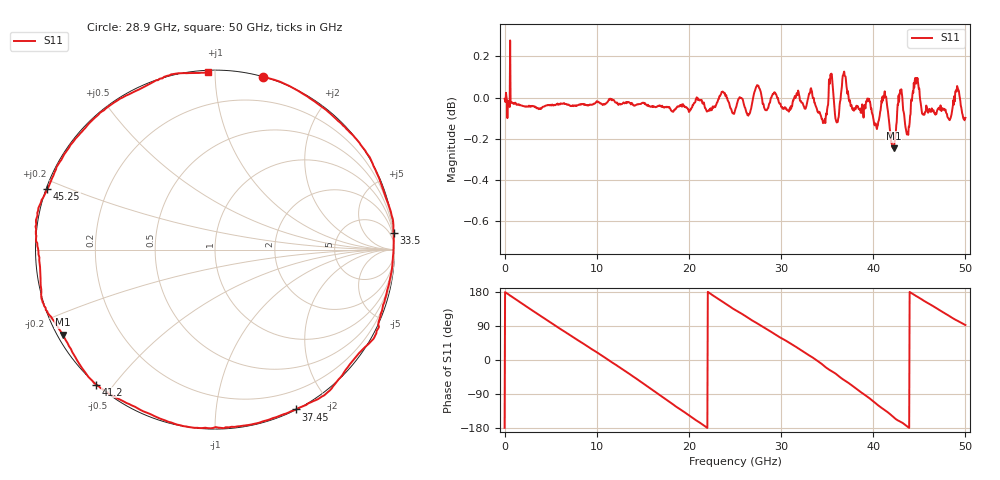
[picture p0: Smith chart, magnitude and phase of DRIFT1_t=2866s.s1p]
!Created with skrf (http://scikit-rf.org).
# Hz S RI R 50.0
!freq ReS11 ImS11
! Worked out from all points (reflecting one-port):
!   1001 points, 300 kHz to 50 GHz, reference 50 ohm
!   lowest |S11| = -0.2 dB at 42.2 GHz (marker M1), VSWR 70.14, Z = 0.761 - j13 ohm
!   phase of S11 starts at -179 deg and turns -809 deg over the sweep
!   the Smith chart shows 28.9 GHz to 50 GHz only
!   S11 on the Smith chart (normalised r, x): 28.9 GHz: 0.00, +1.31; 33.5 GHz: 0, +21; 37.45 GHz: 0.00, -1.63; 41.2 GHz: -0.00, -0.45; 45.25 GHz: 0.00, +0.17; 50 GHz: 0.01, +0.96
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300000  -0.9991 -0.0174
1.65029e9  -0.8866 0.4531
3.40028e9  -0.5611 0.8211
6.250262e9  0.1921 0.9779
9.600242e9  0.892 0.4435
1.115023e10  0.9969 0.0335
1.250022e10  0.9381 -0.3362
1.580021e10  0.2649 -0.959
1.73002e10  -0.1772 -0.9785
1.875019e10  -0.5762 -0.8112
2.050018e10  -0.9004 -0.4264
2.180017e10  -0.9913 -0.0731
2.345016e10  -0.9237 0.3875
2.500015e10  -0.6669 0.7353
2.715014e10  -0.1806 0.9872
2.890013e10  0.2649 0.9641
3.125011e10  0.7614 0.6441
3.35001e10  0.9949 0.0952
3.545009e10  0.8882 -0.4881
3.745008e10  0.4523 -0.8903
3.750008e10  0.4388 -0.8956
3.940006e10  -0.1302 -0.9908
4.120005e10  -0.6624 -0.7518
4.220005e10  -0.8483 -0.4743
4.375004e10  -0.9791 -0.0604
4.525003e10  -0.9348 0.3359
4.770001e10  -0.5586 0.8218
5e10  -0.039 0.9879
